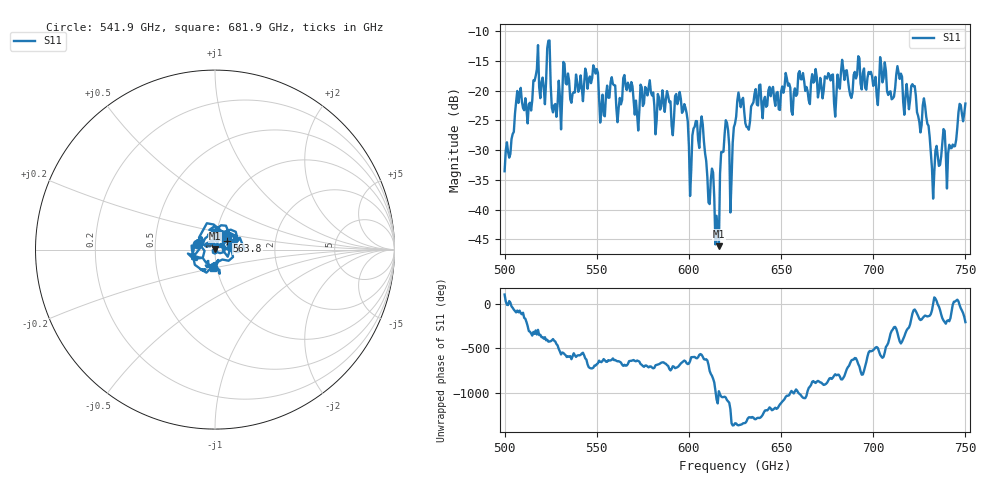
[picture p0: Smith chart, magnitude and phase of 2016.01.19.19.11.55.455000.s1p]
!Created with skrf (http://scikit-rf.org).
# GHz S RI R 50.0
!freq ReS11 ImS11
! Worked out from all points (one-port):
!   401 points, 500 GHz to 750 GHz, reference 50 ohm
!   lowest |S11| = -46.2 dB at 616.2 GHz (marker M1), VSWR 1.01, Z = 50 + j0.49 ohm
!   |S11| at or under -10 dB: start of sweep to end of sweep
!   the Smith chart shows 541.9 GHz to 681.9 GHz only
!   S11 on the Smith chart (normalised r, x): 541.9 GHz: 0.81, +0.05; 563.8 GHz: 1.14, +0.11; 681.9 GHz: 0.95, -0.20
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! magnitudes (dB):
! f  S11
! 500 GHz  -33.6
! 507.5 GHz  -22.0
! 513.1 GHz  -22.3
! 516.9 GHz  -17.5
! 520.6 GHz  -17.8
! 523.8 GHz  -11.6
! 526.9 GHz  -22.5
! 531.2 GHz  -21.1
! 541.9 GHz  -19.5
! 549.4 GHz  -17.1
! 562.5 GHz  -21.2
! 563.8 GHz  -21.5
! 593.8 GHz  -22.3
! 600.6 GHz  -37.7
! 607.5 GHz  -25.6
! 615 GHz  -41.0
! 616.2 GHz  -46.2
! 619.4 GHz  -27.3
! 623.1 GHz  -35.0
! 625 GHz  -25.5
! 656.2 GHz  -24.0
! 681.9 GHz  -19.7
! 687.5 GHz  -20.7
! 705 GHz  -18.6
! 718.8 GHz  -21.1
! 728.1 GHz  -22.5
! 732.5 GHz  -38.2
! 750 GHz  -22.2
